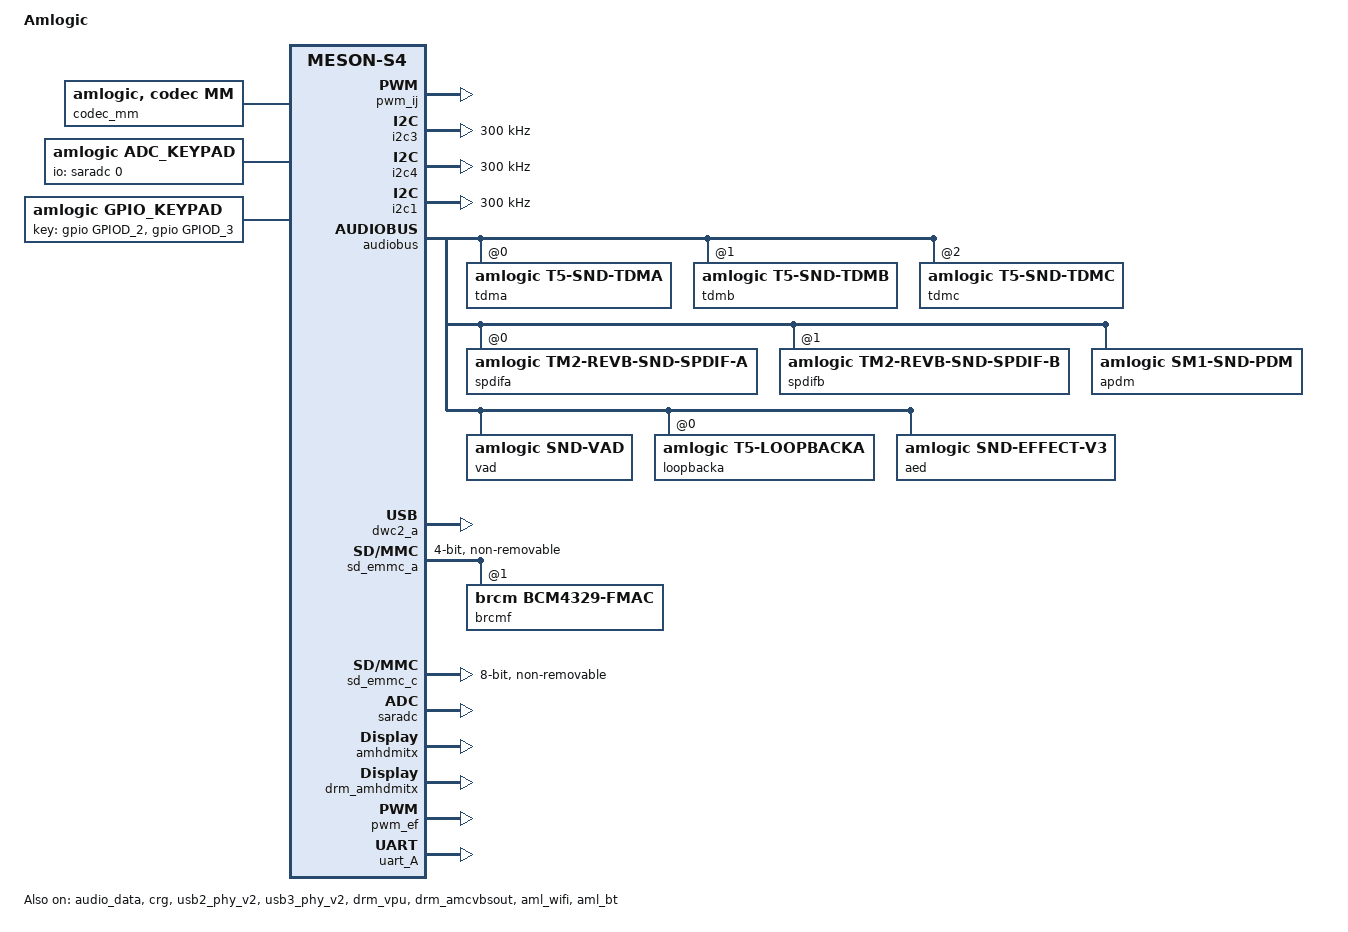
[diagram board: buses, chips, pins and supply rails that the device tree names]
// SPDX-License-Identifier: (GPL-2.0+ OR MIT)
/*
 * Copyright (c) 2019 Amlogic, Inc. All rights reserved.
 */

/dts-v1/;

#include "meson-s4.dtsi"
#include "mesons4_drm.dtsi"
#include "partition_mbox_ab.dtsi"
#include <dt-bindings/input/input.h>

/ {
	model = "Amlogic";
	amlogic-dt-id = "s4_s905y4_ap223";
	compatible = "amlogic, s4";
	interrupt-parent = <&gic>;
	#address-cells = <2>;
	#size-cells = <2>;

	aliases {
		serial0 = &uart_B;
		serial1 = &uart_A;
		serial2 = &uart_C;
		serial3 = &uart_D;
		serial4 = &uart_E;
		i2c0 = &i2c0;
		i2c1 = &i2c1;
		i2c2 = &i2c2;
		i2c3 = &i2c3;
		i2c4 = &i2c4;
		spi0 = &spifc;
		spi1 = &spicc0;
		tsensor0 = &p_tsensor;
	};

	memory@00000000 {
		device_type = "memory";
		linux,usable-memory = <0x0 0x0 0x0 0x80000000>;
	};

	reserved-memory {
		#address-cells = <2>;
		#size-cells = <2>;
		ranges;

		/* global autoconfigured region for contiguous allocations */
		ramoops@0x07400000 {
			compatible = "ramoops";
			reg = <0x0 0x07400000 0x0 0x00100000>;
			record-size = <0x20000>;
			console-size = <0x40000>;
			ftrace-size = <0x80000>;
			pmsg-size = <0x10000>;
			bconsole-size = <0x10000>;
		};

		secmon_reserved:linux,secmon {
			compatible = "shared-dma-pool";
			reusable;
			size = <0x0 0x3400000>;
			alignment = <0x0 0x400000>;
			alloc-ranges = <0x0 0x05000000 0x0 0x3400000>;
		};

		logo_reserved:linux,meson-fb {
			compatible = "shared-dma-pool";
			reusable;
			size = <0x0 0x800000>;
			alignment = <0x0 0x400000>;
			alloc-ranges = <0x0 0x7f800000 0x0 0x800000>;
		};

		ion_cma_reserved:linux,ion-dev {
			compatible = "shared-dma-pool";
			reusable;
			size = <0x0 0x5c00000>;
			alignment = <0x0 0x400000>;
		};
		ion_fb_reserved:linux,ion-fb {
			compatible = "shared-dma-pool";
			reusable;
			/* 1920x1080x4x4 round up 4M align */
			size = <0x0 0x2400000>;
			alignment = <0x0 0x400000>;
		};
		/*di CMA pool */
		di_cma_reserved:linux,di_cma {
			compatible = "shared-dma-pool";
			reusable;
			/* buffer_size = 3621952(yuv422 8bit)
			 *  | 4736064(yuv422 10bit)
			 *  | 4074560(yuv422 10bit full pack mode)
			 * 10x3621952=34.6M(0x23) support 8bit
			 * 10x4736064=45.2M(0x2e) support 12bit
			 * 10x4074560=40M(0x28) support 10bit
			 */
			//size = <0x0 0x0B000000>;
			//size = <0x0 0x0>;
			alignment = <0x0 0x400000>;
		};

		/*  POST PROCESS MANAGER */
		ppmgr_reserved:linux,ppmgr {
			compatible = "shared-dma-pool";
			size = <0x0>;
		};

		codec_mm_cma:linux,codec_mm_cma {
			compatible = "shared-dma-pool";
			reusable;
			/* ion_codec_mm max can alloc size 80M*/
			size = <0x0 0x1b000000>;
			alignment = <0x0 0x400000>;
			linux,contiguous-region;
		};

		/* codec shared reserved */
		codec_mm_reserved:linux,codec_mm_reserved {
			compatible = "amlogic, codec-mm-reserved";
			size = <0x0 0x0>;
			alignment = <0x0 0x100000>;
			//no-map;
		};

		/*  vdin0 CMA pool */
		//vdin0_cma_reserved:linux,vdin0_cma {
		//	compatible = "shared-dma-pool";
		//	reusable;
			/* up to 1920x1080 yuv422 8bit and 5 buffers
			 * 1920x1080x2x5 = 20 M
			 */
		//	size = <0x0 0x01400000>;
		//	alignment = <0x0 0x400000>;
		//};
		/*  vdin1 CMA pool */
		vdin1_cma_reserved:linux,vdin1_cma {
			compatible = "shared-dma-pool";
			reusable;
			/* up to 1920x1080 yuv422 8bit and 5 buffers
			 * 1920x1080x2x5 = 20 M
			 */
			size = <0x0 0x01400000>;
			alignment = <0x0 0x400000>;
		};

		/* demod_reserved:linux,demod {
		 *	compatible = "amlogic, demod-mem";
		 *	size = <0x0 0x6400000>; //8M //100m 0x6400000
		 *	alloc-ranges = <0x0 0x0 0x0 0x30000000>;
		 *	//multi-use;
		 *	//no-map;
		 * };
		 */

		demod_cma_reserved:linux,demod_cma {
			compatible = "shared-dma-pool";
			reusable;
			/* 20M */
			size = <0x0 0x0>;
			alignment = <0x0 0x400000>;
		};
	};
	codec_mm {
		compatible = "amlogic, codec, mm";
		memory-region = <&codec_mm_cma &codec_mm_reserved>;
		dev_name = "codec_mm";
		status = "okay";
	};
	amdolby_vision {
		compatible = "amlogic, dolby_vision_sc2";
		dev_name = "aml_amdolby_vision_driver";
		status = "disabled";
		tv_mode = <0>;/*1:enabel ;0:disable*/
	};
	cvbsout {
		compatible = "amlogic, cvbsout-s4";
		status = "okay";

		/* clk path */
		/* 0:vid_pll vid2_clk */
		/* 1:gp0_pll vid2_clk */
		/* 2:vid_pll vid1_clk */
		/* 3:gp0_pll vid1_clk */
		clk_path = <0>;

		/* performance: reg_address, reg_value */
		/* s4 */
		performance_pal = <0x1bf0  0x9 /* default Matrx625 CTCC value*/
			0x1b12  0x80c0
			0x1b05  0xf7
			0x1b56  0x333
			0x1c59  0xf25c
			0xffff  0x0>; /* ending flag */
		performance = <0x1bf0  0x9 /* ccitt033 SVA value */
			0x1b12  0x8040
			0x1b05  0xfd
			0x1b56  0x333
			0x1c59  0xf654
			0xffff  0x0>; /* ending flag */
		performance_ntsc = <0x1bf0  0x9
			0x1b12  0x8020
			0x1b03  0x0
			0x1b04  0x0
			0x1b05  0x0
			0x1b06  0x0
			0x1b56  0x333
			0x1c59  0xf850
			0xffff  0x0>; /* ending flag */
	};

	dvb-extern {
		compatible = "amlogic, dvb-extern";
		dev_name = "dvb-extern";
		status = "disabled";

		/* dvb hardware main power. */
		dvb_power_gpio = <&gpio GPIOZ_5 GPIO_ACTIVE_HIGH>;
		dvb_power_value = <1>;
		dvb_power_dir = <0>; /* 0: out, 1: in. */

		fe_num = <3>; /* interal 2 * dvb-c, extern 1 * dvb-s */
		fe0_demod = "internal";
		fe0_tuner0 = <0>; /* use tuner0 */

		fe1_demod = "internal";
		fe1_tuner0 = <1>; /* use tuner1 */

		fe2_demod = "cxd2856";
		fe2_i2c_adap_id = <&i2c4>;
		fe2_demod_i2c_addr = <0xD8>;
		fe2_reset_value = <0>;
		fe2_reset_gpio = <&gpio GPIOZ_4 GPIO_ACTIVE_HIGH>;
		fe2_reset_dir = <0>; /* 0: out, 1: in. */
		fe2_ant_poweron_value = <0>;
		fe2_ant_power_gpio = <&gpio GPIOH_9 GPIO_ACTIVE_HIGH>;
		fe2_ts = <0>;
		fe2_tuner1 = <3>; /* use tuner3, only S. */

		tuner_num = <4>; /* tuner number, multi tuner support */
		tuner0_name = "r836_tuner";
		tuner0_i2c_adap = <&i2c3>;
		tuner0_i2c_addr = <0x1a>; /* 7bit */
		tuner0_xtal = <0>; /* 0: 16MHz, 1: 24MHz */
		tuner0_xtal_mode = <0>;
					/* NO_SHARE_XTAL(0)
					 * SLAVE_XTAL_SHARE(3)
					 */
		tuner0_xtal_cap = <16>;
		tuner0_lt_out = <1>;

		tuner1_name = "r836_tuner";
		tuner1_i2c_adap = <&i2c3>;
		tuner1_i2c_addr = <0x3a>; /* 7bit */
		tuner1_xtal = <0>; /* 0: 16MHz, 1: 24MHz */
		tuner1_xtal_mode = <0>;
					/* NO_SHARE_XTAL(0)
					 * SLAVE_XTAL_SHARE(3)
					 */
		tuner1_xtal_cap = <16>;
		tuner1_lt_out = <1>;

		tuner2_name = "av2018_tuner";
		tuner2_i2c_adap = <&i2c3>;
		tuner2_i2c_addr = <0xC4>; /* 8bit */
		tuner2_lt_out = <1>;

		tuner3_name = "av2018_tuner";
		tuner3_lt_out = <1>;
	};

	dvb-demux {
		compatible = "amlogic sc2, dvb-demux";
		dev_name = "dvb-demux";
		status = "disabled";

		reg = <0x0 0xfe000000 0x0 0x480000>;

		dmxdev_num = <6>;

		tsn_from = "demod";

		/*single demod setting */
		ts0_sid = <0x10>;
		ts0 = "serial-4wire"; /* tsinA: serial-4wire, serial-3wire */
		ts0_control = <0x0>;
		ts0_invert = <0>;

		ts1_sid = <0x11>;
		ts1 = "parallel";
		ts1_control = <0x0>;
		ts1_invert = <0>;

		ts2_sid = <0x12>;
		ts2 = "parallel";
		ts2_control = <0x0>;
		ts2_invert = <0>;

		pinctrl-names = "s_ts0";
		pinctrl-0 = <&dvb_s_ts0_pins>;
	};

	ionvideo {
		compatible = "amlogic, ionvideo";
		dev_name = "ionvideo";
		status = "okay";
	};

	amlvideo2_0 {
		compatible = "amlogic, amlvideo2";
		dev_name = "amlvideo2";
		status = "okay";
		amlvideo2_id = <0>;
		cma_mode = <1>;
	};

	amlvideo2_1 {
		compatible = "amlogic, amlvideo2";
		dev_name = "amlvideo2";
		status = "okay";
		amlvideo2_id = <1>;
		cma_mode = <1>;
	};

	ppmgr {
		compatible = "amlogic, ppmgr";
		memory-region = <&ppmgr_reserved>;
		dev_name = "ppmgr";
		status = "okay";
	};

	amlvecm {
		compatible = "amlogic, vecm";
		dev_name = "aml_vecm";
		status = "okay";
		gamma_en = <0>;/*1:enabel ;0:disable*/
		wb_en = <0>;/*1:enabel ;0:disable*/
		cm_en = <0>;/*1:enabel ;0:disable*/
		/*0: 709/601  1: bt2020*/
		tx_op_color_primary = <0>;
	};

	multi-di {
		compatible = "amlogic, dim-s4";
		status = "okay";
		/* 0:use reserved; 1:use cma; 2:use cma as reserved */
		flag_cma = <4>;	//<1>;
		//memory-region = <&di_reserved>;
		//memory-region = <&di_cma_reserved>;
		interrupts = <0 203 1
				0 202 1>;
		interrupt-names = "pre_irq", "post_irq";
		clocks = <&clkc CLKID_VPU_CLKB>,
			<&clkc CLKID_VPU>;
		clock-names = "vpu_clkb",
			"vpu_mux";
		clock-range = <334 667>;
		/* buffer-size = <3621952>;(yuv422 8bit) */
		buffer-size = <4074560>;/*yuv422 fullpack*/
		/* reserve-iomap = "true"; */
		/* if enable nr10bit, set nr10bit-support to 1 */
		post-wr-support = <1>;
		nr10bit-support = <1>;
		nrds-enable = <1>;
		pps-enable = <1>;
	};

	aml_dtv_demod {
		compatible = "amlogic, ddemod-s4";
		dev_name = "aml_dtv_demod";
		status = "disabled";
		/* diseqc_name = "sgm_41286"; */
		pinctrl-names="if_agc_pins", "if_agc2_pins";
		pinctrl-0=<&dtvdemod_if_agc_pins>;
		pinctrl-1=<&dtvdemod_if_agc2_pins>;
		/* pinctrl-2=<&diseqc_out>; */
		/* lnb_en-gpios = <&gpio GPIOZ_2 GPIO_ACTIVE_HIGH>; */
		/* lnb_sel-gpios = <&gpio GPIOZ_3 GPIO_ACTIVE_HIGH>; */
		/* interrupts = <GIC_SPI 142 IRQ_TYPE_EDGE_RISING>; */
		/* interrupt-names = "demod_isr"; */

		power-domains = <&pwrdm PDID_S4_DEMOD>;
		/* clocks = <&clkc CLKID_DAC_CLK>; */
		/* clock-names = "vdac_clk_gate"; */

		reg = <0x0 0xfe350000 0x0 0x10000	/* dtv demod base */
			   0x0 0xfe000000 0x0 0x2000	/* div base */
			   0x0 0xff800000 0x0 0x1000	/* io_aobus_base */
			   0x0 0xffd01000 0x0 0x1000	/* reset */
			>;

		dtv_demod0_mem = <0>;	// need move to aml_dtv_demod ?
		spectrum = <1>;
		cma_flag = <1>;
		cma_mem_size = <0>;
		memory-region = <&demod_cma_reserved>;//<&demod_reserved>;
	};

	provisionkey {
		compatible = "amlogic, provisionkey";
		status = "disabled";
		key-permit-default = "write";
		//new key not need add dts if started with KEY_PROVISION_
		KEY_PROVISION_XXX { };
		//test_my_added_keyname { };
	};//End provisionkey

	unifykey{
		compatible = "amlogic,unifykey";
		status = "ok";
		unifykey-num = <19>;
		unifykey-index-0 = <&keysn_0>;
		unifykey-index-1 = <&keysn_1>;
		unifykey-index-2 = <&keysn_2>;
		unifykey-index-3 = <&keysn_3>;
		unifykey-index-4 = <&keysn_4>;
		unifykey-index-5 = <&keysn_5>;
		unifykey-index-6 = <&keysn_6>;
		unifykey-index-7 = <&keysn_7>;
		unifykey-index-8 = <&keysn_8>;
		unifykey-index-9 = <&keysn_9>;
		unifykey-index-10= <&keysn_10>;
		unifykey-index-11= <&keysn_11>;
		unifykey-index-12= <&keysn_12>;
		unifykey-index-13= <&keysn_13>;
		unifykey-index-14= <&keysn_14>;
		unifykey-index-15= <&keysn_15>;
		unifykey-index-16= <&keysn_16>;
		unifykey-index-17= <&keysn_17>;
		unifykey-index-18= <&keysn_18>;

		keysn_0: key_0{
			key-name = "usid";
			key-device = "normal";
			key-permit = "read","write","del";
		};
		keysn_1:key_1{
			key-name = "mac";
			key-device = "normal";
			key-permit = "read","write","del";
		};
		keysn_2:key_2{
			key-name = "hdcp";
			key-device = "secure";
			key-type = "sha1";
			key-permit = "read","write","del";
		};
		keysn_3:key_3{
			key-name = "secure_boot_set";
			key-device = "efuse";
			key-permit = "write";
		};
		keysn_4:key_4{
			key-name = "mac_bt";
			key-device = "normal";
			key-permit = "read","write","del";
			key-type  = "mac";
		};
		keysn_5:key_5{
			key-name = "mac_wifi";
			key-device = "normal";
			key-permit = "read","write","del";
			key-type = "mac";
		};
		keysn_6:key_6{
			key-name = "hdcp2_tx";
			key-device = "normal";
			key-permit = "read","write","del";
		};
		keysn_7:key_7{
			key-name = "hdcp2_rx";
			key-device = "normal";
			key-permit = "read","write","del";
		};
		keysn_8:key_8{
			key-name = "widevinekeybox";
			key-device = "secure";
			key-permit = "read","write","del";
		};
		keysn_9:key_9{
			key-name = "deviceid";
			key-device = "normal";
			key-permit = "read","write","del";
		};
		keysn_10:key_10{
			key-name = "hdcp22_fw_private";
			key-device = "secure";
			key-permit = "read","write","del";
		};
		keysn_11:key_11{
			key-name = "PlayReadykeybox25";
			key-device = "secure";
			key-permit = "read","write","del";
		};
		keysn_12:key_12{
			key-name = "prpubkeybox";// PlayReady
			key-device = "secure";
			key-permit = "read","write","del";
		};
		keysn_13:key_13{
			key-name = "prprivkeybox";// PlayReady
			key-device = "secure";
			key-permit = "read","write","del";
		};
		keysn_14:key_14{
			key-name = "attestationkeybox";// attestation key
			key-device = "secure";
			key-permit = "read","write","del";
		};
		keysn_15:key_15{
			key-name = "region_code";
			key-device = "normal";
			key-permit = "read","write","del";
		};
		keysn_16:key_16{
			key-name = "netflix_mgkid";
			key-device = "secure";
			key-permit = "read","write","del";
		};
		keysn_17:key_17{
			key-name = "attestationdevidbox";// attest dev id box
			key-device = "secure";
			key-permit = "read","write","del";
		};
		keysn_18:key_18{
			key-name = "oemkey";
			key-device = "normal";
			key-permit = "read","write","del";
		};
	};//End unifykey

	efusekey:efusekey{
		keynum = <4>;
		key0 = <&key_0>;
		key1 = <&key_1>;
		key2 = <&key_2>;
		key3 = <&key_3>;
		key_0:key_0{
			keyname = "mac";
			offset = <0>;
			size = <6>;
		};
		key_1:key_1{
			keyname = "mac_bt";
			offset = <6>;
			size = <6>;
		};
		key_2:key_2{
			keyname = "mac_wifi";
			offset = <12>;
			size = <6>;
		};
		key_3:key_3{
			keyname = "usid";
			offset = <18>;
			size = <16>;
		};
	};//End efusekey
	/* Audio Related start */
	auge_sound {
		compatible = "amlogic, auge-sound-card";
		aml-audio-card,name = "AML-AUGESOUND";

		/*avout mute gpio*/
		//avout_mute-gpios = <&gpio GPIOH_5 GPIO_ACTIVE_HIGH>;
		//spk_mute-gpios = <&gpio GPIOH_8 GPIO_ACTIVE_LOW>;

		aml-audio-card,dai-link@0 {
			format = "dsp_a";
			mclk-fs = <512>;
			//continuous-clock;
			//bitclock-inversion;
			//frame-inversion;
			/* master mode */
			bitclock-master = <&tdma>;
			frame-master = <&tdma>;
			/* slave mode */
			/*
			 * bitclock-master = <&tdmacodec>;
			 * frame-master = <&tdmacodec>;
			 */
			suffix-name = "alsaPORT-pcm";
			tdmacpu: cpu {
				sound-dai = <&tdma>;
				dai-tdm-slot-tx-mask =
							<1>;
				dai-tdm-slot-rx-mask =
							<1>;
				dai-tdm-slot-num = <2>;
				dai-tdm-slot-width = <16>;
				system-clock-frequency = <256000>;
			};
			tdmacodec: codec {
				sound-dai = <&dummy_codec>;
			};
		};

		aml-audio-card,dai-link@1 {
			format = "i2s";// "dsp_a";
			mclk-fs = <256>;
			//continuous-clock;
			//bitclock-inversion;
			//frame-inversion;
			/* master mode */
			bitclock-master = <&tdmb>;
			frame-master = <&tdmb>;
			/* slave mode */
			//bitclock-master = <&tdmbcodec>;
			//frame-master = <&tdmbcodec>;
			/* suffix-name, sync with android audio hal
			 * what's the dai link used for
			 */
			suffix-name = "alsaPORT-i2s2hdmi";
			cpu {
				sound-dai = <&tdmb>;
				dai-tdm-slot-tx-mask = <1 1>;
				dai-tdm-slot-rx-mask = <1 1>;
				dai-tdm-slot-num = <2>;
				/*
				 * dai-tdm-slot-tx-mask =
				 *	<1 1 1 1 1 1 1 1>;
				 * dai-tdm-slot-rx-mask =
				 *	<1 1 1 1 1 1 1 1>;
				 * dai-tdm-slot-num = <8>;
				 */
				dai-tdm-slot-width = <32>;
				system-clock-frequency = <12288000>;
			};
			tdmbcodec: codec {
				sound-dai = <&dummy_codec>;
			};
		};

		aml-audio-card,dai-link@2 {
			format = "i2s";
			mclk-fs = <256>;
			//continuous-clock;
			//bitclock-inversion;
			//frame-inversion;
			/* master mode */
			bitclock-master = <&tdmc>;
			frame-master = <&tdmc>;
			/* slave mode */
			//bitclock-master = <&tdmccodec>;
			//frame-master = <&tdmccodec>;
			/* suffix-name, sync with android audio hal used for */
			suffix-name = "alsaPORT-i2s";
			cpu {
				sound-dai = <&tdmc>;
				dai-tdm-slot-tx-mask = <1 1>;
				dai-tdm-slot-rx-mask = <1 1>;
				dai-tdm-slot-num = <2>;
				dai-tdm-slot-width = <32>;
				system-clock-frequency = <12288000>;
			};
			tdmccodec: codec {
				sound-dai = <&dummy_codec /*&ad82584f_62*/>;
			};
		};

		aml-audio-card,dai-link@3 {
			mclk-fs = <64>;
			/* suffix-name, sync with android audio hal
			 * what's the dai link used for
			 */
			suffix-name = "alsaPORT-pdm-builtinmic";
			cpu {
				sound-dai = <&apdm>;
			};
			codec {
				sound-dai = <&dummy_codec>;
			};
		};

		aml-audio-card,dai-link@4 {
			mclk-fs = <128>;
			/* suffix-name, sync with android audio hal used for */
			suffix-name = "alsaPORT-spdif";
			cpu {
				sound-dai = <&spdifa>;
				system-clock-frequency = <6144000>;
			};
			codec {
				sound-dai = <&dummy_codec>;
			};
		};
		/* spdif_b to hdmi, only playback */
		aml-audio-card,dai-link@5 {
			mclk-fs = <128>;
			continuous-clock;
			/* suffix-name, sync with android audio hal
			 * what's the dai link used for
			 */
			suffix-name = "alsaPORT-spdifb";
			cpu {
				sound-dai = <&spdifb>;
				system-clock-frequency = <6144000>;
			};
			codec {
				sound-dai = <&dummy_codec>;
			};
		};

		aml-audio-card,dai-link@6 {
			mclk-fs = <256>;
			continuous-clock;
			suffix-name = "alsaPORT-loopback";
			cpu {
				sound-dai = <&loopbacka>;
				system-clock-frequency = <12288000>;
			};
			codec {
				sound-dai = <&dummy_codec>;
			};
		};
	};

	picdec {
		compatible = "amlogic, picdec";
		status = "okay";
	};

	audiolocker: locker {
		compatible = "amlogic, audiolocker";
		clock-names = "lock_out", "lock_in", "out_src",
					"in_src", "out_calc", "in_ref";
		interrupts = <GIC_SPI 1 IRQ_TYPE_EDGE_RISING>;
		interrupt-names = "irq";
		frequency = <49000000>; /* pll */
		dividor = <49>; /* locker's parent */
		status = "disabled";
	};/* Audio Related end */

	adc_keypad {
		compatible = "amlogic, adc_keypad";
		status = "okay";
		key_name = "standby", "vol+", "vol-";
		key_num = <3>;
		io-channels = <&saradc 0>;
		io-channel-names = "key-chan-0";
		key_chan = <0 0 0>;
		key_code = <116 115 114>;
		key_val = <20 910 630>; //val=voltage/1800mV*1023
		key_tolerance = <40 40 40>;
	};

	gpio_keypad{
		compatible = "amlogic, gpio_keypad";
		status = "okay";
		scan_period = <20>;
		key_num = <2>;
		key_name = "bluetooth", "mute";
		key_code = <600 SW_MUTE_DEVICE>;
		key_type = <EV_KEY EV_SW>;
		key-gpios = <&gpio  GPIOD_2  GPIO_ACTIVE_HIGH
			     &gpio  GPIOD_3  GPIO_ACTIVE_HIGH>;
		detect_mode = <0>;/*0:polling mode, 1:irq mode*/
	};
};

&pwm_ij {
	status = "okay";
};

&i2c3 {
	status = "okay";
	pinctrl-names="default";
	pinctrl-0=<&i2c3_pins2>;
	clock-frequency = <300000>;
};

&i2c4 {
	status = "okay";
	pinctrl-names="default";
	pinctrl-0=<&i2c4_pins3>;
	clock-frequency = <300000>;
};

&i2c1 {
	status = "okay";
	pinctrl-names="default";
	pinctrl-0=<&i2c1_pins2>;
	clock-frequency = <300000>; /* default 100k */

	tlc59116: tlc59116@60 {
		compatible = "amlogic,tlc59116_led";
		reg = <0x60>;
		status = "disabled";

		led0 {
			default_colors = <0 0 0>;
			r_io_number = <0>;
			g_io_number = <10>;
			b_io_number = <5>;
		};

		led1 {
			default_colors = <0 0 0>;
			r_io_number = <1>;
			g_io_number = <11>;
			b_io_number = <6>;
		};

		led2 {
			default_colors = <0 0 0>;
			r_io_number = <2>;
			g_io_number = <12>;
			b_io_number = <7>;
		};

		led3 {
			default_colors = <0 0 0>;
			r_io_number = <3>;
			g_io_number = <13>;
			b_io_number = <8>;
		};
	};
};

&vddcpu0 {
	status = "okay";
};

&CPU0 {
	multi_tables_available;
	operating-points-v2 = <&s905y4_opp_table0>,
		<&s905y4_opp_table1>,
		<&s905y4_opp_table2>,
		<&s905y4_opp_table3>;
};

&CPU1 {
	multi_tables_available;
	operating-points-v2 = <&s905y4_opp_table0>,
		<&s905y4_opp_table1>,
		<&s905y4_opp_table2>,
		<&s905y4_opp_table3>;
};

&CPU2 {
	multi_tables_available;
	operating-points-v2 = <&s905y4_opp_table0>,
		<&s905y4_opp_table1>,
		<&s905y4_opp_table2>,
		<&s905y4_opp_table3>;
};

&CPU3 {
	multi_tables_available;
	operating-points-v2 = <&s905y4_opp_table0>,
		<&s905y4_opp_table1>,
		<&s905y4_opp_table2>,
		<&s905y4_opp_table3>;
};

&audiobus {
	tdma: tdm@0 {
		compatible = "amlogic, t5-snd-tdma";
		#sound-dai-cells = <0>;
		dai-tdm-lane-slot-mask-in = <1>;
		dai-tdm-lane-slot-mask-out = <1 0>;
		dai-tdm-clk-sel = <0>;
		clocks = <&clkaudio CLKID_AUDIO_MCLK_A
				&clkc CLKID_MPLL0>;
		clock-names = "mclk", "clk_srcpll";
		pinctrl-names = "tdm_pins";
		pinctrl-0 = <&tdm_a
			&tdm_d0_pins
			&tdm_d1_pins
			&tdma_clk_pins>;

		status = "okay";
	};

	tdmb: tdm@1 {
		compatible = "amlogic, t5-snd-tdmb";
		#sound-dai-cells = <0>;
		dai-tdm-lane-slot-mask-in = <0 1 0 0>;
		dai-tdm-lane-slot-mask-out = <1 1 1 1>;
		dai-tdm-clk-sel = <1>;
		clocks = <&clkaudio CLKID_AUDIO_MCLK_B
				&clkc CLKID_MPLL1>;
		clock-names = "mclk", "clk_srcpll";
		pinctrl-names = "tdm_pins";
		pinctrl-0 = </*&tdmb_mclk &tdmout_b &tdmin_b*/>;

		i2s2hdmi = <1>;
		status = "okay";
	};

	tdmc: tdm@2 {
		compatible = "amlogic, t5-snd-tdmc";
		#sound-dai-cells = <0>;
		dai-tdm-lane-slot-mask-in = <1>;
		dai-tdm-lane-slot-mask-out = <1>;
		dai-tdm-clk-sel = <2>;
		clocks = <&clkaudio CLKID_AUDIO_MCLK_C
				&clkaudio CLKID_AUDIO_MCLK_PAD0
				&clkc CLKID_MPLL2>;
		clock-names = "mclk", "mclk_pad", "clk_srcpll";
		/*
		 * 0: tdmout_a;
		 * 1: tdmout_b;
		 * 2: tdmout_c;
		 * 3: spdifout;
		 * 4: spdifout_b;
		 */
		samesource_sel = <3>;

		/*enable default mclk(12.288M), before extern codec start*/
		start_clk_enable = <1>;

		/*tdm clk tuning enable*/
		clk_tuning_enable = <1>;

		status = "okay";
	};

	spdifa: spdif@0 {
		compatible = "amlogic, tm2-revb-snd-spdif-a";
		#sound-dai-cells = <0>;
		clocks = <&clkc CLKID_MPLL0
				&clkc CLKID_FCLK_DIV4
				&clkaudio CLKID_AUDIO_GATE_SPDIFIN
				&clkaudio CLKID_AUDIO_GATE_SPDIFOUT_A
				&clkaudio CLKID_AUDIO_SPDIFIN
				&clkaudio CLKID_AUDIO_SPDIFOUT_A>;
		clock-names = "sysclk", "fixed_clk", "gate_spdifin",
				"gate_spdifout", "clk_spdifin", "clk_spdifout";
		interrupts =
				<GIC_SPI 35 IRQ_TYPE_EDGE_RISING>;

		interrupt-names = "irq_spdifin";
		pinctrl-names = "spdif_pins", "spdif_pins_mute";
		pinctrl-0 = <&spdifout>;
		pinctrl-1 = <&spdifout_a_mute>;

		/*spdif clk tuning enable*/
		clk_tuning_enable = <1>;

		status = "okay";
	};
	spdifb: spdif@1 {
		compatible = "amlogic, tm2-revb-snd-spdif-b";
		#sound-dai-cells = <0>;
		clocks = <&clkc CLKID_MPLL1 /*CLKID_HIFI_PLL*/
				&clkaudio CLKID_AUDIO_GATE_SPDIFOUT_B
				&clkaudio CLKID_AUDIO_SPDIFOUT_B>;
		clock-names = "sysclk",
				"gate_spdifout", "clk_spdifout";

		status = "okay";
	};
	apdm: pdm {
		compatible = "amlogic, sm1-snd-pdm";
		#sound-dai-cells = <0>;

		clocks = <&clkaudio CLKID_AUDIO_GATE_PDM
			&clkc CLKID_FCLK_DIV3
			&clkc CLKID_MPLL3
			&clkaudio CLKID_AUDIO_PDMIN0
			&clkaudio CLKID_AUDIO_PDMIN1>;
		clock-names = "gate",
			"sysclk_srcpll",
			"dclk_srcpll",
			"pdm_dclk",
			"pdm_sysclk";

		pinctrl-names = "pdm_pins";
		pinctrl-0 = <&pdmin>;

		/* mode 0~4, defalut:1 */
		filter_mode = <1>;

		status = "okay";
	};

	asrca: resample@0 {
		compatible = "amlogic, t5-resample-a";
		clocks = <&clkc CLKID_MPLL3
				&clkaudio CLKID_AUDIO_MCLK_F
				&clkaudio CLKID_AUDIO_RESAMPLE_A>;
		clock-names = "resample_pll", "resample_src", "resample_clk";
		/*same with toddr_src
		 *	TDMIN_A, 0
		 *	TDMIN_B, 1
		 *	TDMIN_C, 2
		 *	SPDIFIN, 3
		 *	PDMIN,  4
		 *	NONE,
		 *	TDMIN_LB, 6
		 *	LOOPBACK, 7
		 */
		resample_module = <4>;
		status = "disabled";
	};

	asrcb:resample@1 {
		compatible = "amlogic, t5-resample-b";
		clocks = <&clkc CLKID_MPLL3
			&clkaudio CLKID_AUDIO_MCLK_F
			&clkaudio CLKID_AUDIO_RESAMPLE_B>;
		clock-names = "resample_pll", "resample_src", "resample_clk";

		/*this resample is only used for loopback_A.*/
		capture_sample_rate = <16000>;

		status = "disabled";
	};

	vad:vad {
		compatible = "amlogic, snd-vad";
		#sound-dai-cells = <0>;

		clocks = <&clkaudio CLKID_AUDIO_GATE_TOVAD
			&clkc CLKID_FCLK_DIV5
			&clkaudio CLKID_AUDIO_VAD>;
		clock-names = "gate", "pll", "clk";

		interrupts = <GIC_SPI 39 IRQ_TYPE_EDGE_RISING
				GIC_SPI 44 IRQ_TYPE_EDGE_RISING>;
		interrupt-names = "irq_wakeup", "irq_frame_sync";

		/*
		 * Data src sel:
		 * 0: tdmin_a;
		 * 1: tdmin_b;
		 * 2: tdmin_c;
		 * 3: spdifin;
		 * 4: pdmin;
		 * 5: loopback_b;
		 * 6: tdmin_lb;
		 * 7: loopback_a;
		 */
		src = <4>;

		/*
		 * deal with hot word in user space or kernel space
		 * 0: in user space
		 * 1: in kernel space
		 */
		level = <1>;

		status = "okay";
	};

	loopbacka:loopback@0 {
		compatible = "amlogic, t5-loopbacka";
		#sound-dai-cells = <0>;

		clocks = <&clkaudio CLKID_AUDIO_GATE_PDM
			&clkc CLKID_FCLK_DIV3
			&clkc CLKID_MPLL3
			&clkaudio CLKID_AUDIO_PDMIN0
			&clkaudio CLKID_AUDIO_PDMIN1
			&clkc CLKID_MPLL0
			&clkaudio CLKID_AUDIO_MCLK_A>;
		clock-names = "pdm_gate",
			"pdm_sysclk_srcpll",
			"pdm_dclk_srcpll",
			"pdm_dclk",
			"pdm_sysclk",
			"tdminlb_mpll",
			"tdminlb_mclk";

		/* datain src
		 * 0: tdmin_a;
		 * 1: tdmin_b;
		 * 2: tdmin_c;
		 * 3: spdifin;
		 * 4: pdmin;
		 */
		datain_src = <4>;
		datain_chnum = <0>;
		datain_chmask = <0x0>;
		/* config which data pin for loopback */
		datain-lane-mask-in = <0 0 0 0>;

		/* calc mclk for datalb */
		mclk-fs = <256>;

		/* tdmin_lb src
		 * 0: tdmoutA
		 * 1: tdmoutB
		 * 2: tdmoutC
		 * 3: PAD_TDMINA_DIN*, refer to core pinmux
		 * 4: PAD_TDMINB_DIN*, refer to core pinmux
		 * 5: PAD_TDMINC_DIN*, refer to core pinmux
		 * 6: PAD_TDMINA_D*, oe, refer to core pinmux
		 * 7: PAD_TDMINB_D*, oe, refer to core pinmux
		 */
		/* if tdmin_lb >= 3, use external loopback */
		datalb_src = <2>;
		datalb_chnum = <2>;
		datalb_chmask = <0x3>;
		/* config which data pin as loopback */
		datalb-lane-mask-in = <1 0 0 0>;

		status = "okay";
	};

	loopbackb:loopback@1 {
		compatible = "amlogic, t5-loopbackb";
		#sound-dai-cells = <0>;

		clocks = <&clkaudio CLKID_AUDIO_GATE_PDM
			&clkc CLKID_FCLK_DIV3
			&clkc CLKID_MPLL3
			&clkaudio CLKID_AUDIO_PDMIN0
			&clkaudio CLKID_AUDIO_PDMIN1
			&clkc CLKID_MPLL0
			&clkaudio CLKID_AUDIO_MCLK_A>;
		clock-names = "pdm_gate",
			"pdm_sysclk_srcpll",
			"pdm_dclk_srcpll",
			"pdm_dclk",
			"pdm_sysclk",
			"tdminlb_mpll",
			"tdminlb_mclk";

		/* calc mclk for datain_lb */
		mclk-fs = <256>;

		/* datain src
		 * 0: tdmin_a;
		 * 1: tdmin_b;
		 * 2: tdmin_c;
		 * 3: spdifin;
		 * 4: pdmin;
		 */
		datain_src = <4>;
		datain_chnum = <4>;
		datain_chmask = <0xf>;
		/* config which data pin for loopback */
		datain-lane-mask-in = <1 0 1 0>;

		/* tdmin_lb src
		 * 0: tdmoutA
		 * 1: tdmoutB
		 * 2: tdmoutC
		 * 3: PAD_TDMINA_DIN*, refer to core pinmux
		 * 4: PAD_TDMINB_DIN*, refer to core pinmux
		 * 5: PAD_TDMINC_DIN*, refer to core pinmux
		 * 6: PAD_TDMINA_D*, oe, refer to core pinmux
		 * 7: PAD_TDMINB_D*, oe, refer to core pinmux
		 */
		/* if tdmin_lb >= 3, use external loopback */
		datalb_src = <1>;
		datalb_chnum = <2>;
		datalb_chmask = <0x3>;
		/* config which data pin as loopback */
		datalb-lane-mask-in = <1 0 0 0>;

		status = "disabled";
	};
	aed:effect {
		compatible = "amlogic, snd-effect-v3";
		#sound-dai-cells = <0>;
		clocks = <&clkaudio CLKID_AUDIO_GATE_EQDRC
			&clkc CLKID_FCLK_DIV5
			&clkaudio CLKID_AUDIO_EQDRC>;
		clock-names = "gate", "srcpll", "eqdrc";
		/*
		 * 0:tdmout_a
		 * 1:tdmout_b
		 * 2:tdmout_c
		 * 3:spdifout
		 * 4:spdifout_b
		 */
		eqdrc_module = <2>;
		/* max 0xf, each bit for one lane, usually one lane */
		lane_mask = <0x1>;
		/* max 0xff, each bit for one channel */
		channel_mask = <0x3>;
		status = "okay";
	};
}; /* end of audiobus */

&pinctrl_audio {
	tdm_d0_pins: tdm_d0_pin {
		mux {
			groups = "tdm_d0";
			function = "tdmouta_lane0";
		};
	};

	tdm_d1_pins: tdm_d1_pin {
		mux {
			groups = "tdm_d1";
			function = "tdmina_lane0";
		};
	};

	tdma_clk_pins: tdm_clk_pin {
		mux {
			groups = "tdm_sclk0", "tdm_lrclk0";
			function = "tdm_clk_outa";
		};
	};
};

&periphs_pinctrl {
	tdm_a: tdm_a {
		mux { /* GPIOX_11, GPIOX_10, GPIOX_9, GPIOX_8 */
			groups = "tdm_sclk0",
				"tdm_fs0",
				"tdm_d0",
				"tdm_d1";
			function = "tdm";
		};
	};

	pdmin: pdmin {
		mux { /* GPIOD_8, GPIOD_9 */
			groups = "pdm_din0_d";
			function = "pdm";
		};
		mux1 {
			groups = "pdm_dclk_d";
			function = "pdm";
			drive-strength-microamp = <500>;
		};
	};

	spdifout: spdifout {
		mux { /* GPIOH_4 */
			groups = "spdif_out_h";
			function = "spdif_out";
		};
	};

	spdifout_a_mute: spdifout_a_mute {
		mux { /* GPIOH_4 */
			groups = "GPIOH_4";
			function = "gpio_periphs";
			output-low;
		};
	};

	dvb_s_ts0_pins: dvb_s_ts0_pins {
		tsin_a {
			groups = "tsin_a_sop",
				"tsin_a_valid",
				"tsin_a_clk",
				"tsin_a_din0";
			function = "tsin_a";
		};
	};
}; /* end of periphs_pinctrl */

&audio_data {
	status = "okay";
};

&dwc2_a {
	status = "okay";
	/** 0: normal, 1: otg+dwc3 host only, 2: otg+dwc3 device only*/
	controller-type = <1>;
};

&crg {
	status = "okay";
};

&usb2_phy_v2 {
	status = "okay";
	portnum = <2>;
};

&usb3_phy_v2 {
	status = "okay";
	portnum = <0>;
	otg = <0>;
	/*gpio-vbus-power = "GPIOH_6";*/
	/*gpios = <&gpio GPIOH_6 GPIO_ACTIVE_HIGH>;*/
};

&pcie {
	reset-gpio = <&gpio GPIOX_7 GPIO_ACTIVE_HIGH>;
	status = "disable";
};

/* SDIO */
&sd_emmc_a {
	status = "okay";
	pinctrl-0 = <&sdio_pins>;
	pinctrl-1 = <&sdio_clk_gate_pins>;
	pinctrl-names = "default", "clk-gate";
	#address-cells = <1>;
	#size-cells = <0>;

	bus-width = <4>;
	cap-sd-highspeed;
	sd-uhs-sdr50;
	sd-uhs-sdr104;
	max-frequency = <200000000>;

	non-removable;
	disable-wp;

	//vmmc-supply = <&vddao_3v3>;
	//vqmmc-supply = <&vddio_ao1v8>;

	brcmf: wifi@1 {
		reg = <1>;
		compatible = "brcm,bcm4329-fmac";
	};
};

/* SD card */
&sd_emmc_b {
	status = "disabled";
	pinctrl-0 = <&sdcard_pins>;
	pinctrl-1 = <&sdcard_clk_gate_pins>;
	pinctrl-2 = <&sd_1bit_pins>;
	pinctrl-3 = <&sd_to_ao_uart_clr_pins
		&sdcard_pins &ao_to_sd_uart_pins>;
	pinctrl-4 = <&sd_to_ao_uart_clr_pins
		&sd_1bit_pins &ao_to_sd_uart_pins>;
	pinctrl-5 = <&sdcard_pins &ao_uart_pins>;
	pinctrl-6 = <&sd_to_ao_uart_clr_pins
		&ao_to_sd_uart_pins>;
	pinctrl-7 = <&sdcard_pins &ao_uart_pins>;
	pinctrl-8 = <&sd_to_ao_uart_clr_pins
		&ao_to_sd_uart_pins>;
	pinctrl-names = "sd_default",
			"clk-gate",
			"sd_1bit_pins",
			"sd_clk_cmd_uart_pins",
			"sd_1bit_uart_pins",
			"sd_to_ao_uart_pins",
			"ao_to_sd_uart_pins",
			"sd_to_ao_jtag_pins",
			"ao_to_sd_jtag_pins";
	bus-width = <4>;
	cap-sd-highspeed;
//	sd-uhs-sdr12;
//	sd-uhs-sdr25;
//	sd-uhs-sdr50;
//	sd-uhs-sdr104;
	max-frequency = <200000000>;
	disable-wp;

	cd-gpios = <&gpio GPIOC_6 GPIO_ACTIVE_HIGH>;
	dat1-gpios = <&gpio GPIOC_1 GPIO_ACTIVE_HIGH>;
	//vmmc-supply = <&vddao_3v3>;
	//vqmmc-supply = <&emmc_1v8>;
};

&sd_emmc_c {
	status = "okay";
	pinctrl-0 = <&emmc_pins>, <&emmc_ds_pins>;
	pinctrl-1 = <&emmc_clk_gate_pins>;
	pinctrl-names = "default", "clk-gate";

	bus-width = <8>;
	cap-mmc-highspeed;
	mmc-ddr-1_8v;
	mmc-hs200-1_8v;
//	mmc-hs400-1_8v;
	max-frequency = <200000000>;
	non-removable;
	disable-wp;

//	mmc-pwrseq = <&emmc_pwrseq>;
//	vmmc-supply = <&vddao_3v3>;
//	vqmmc-supply = <&vddao_1v8>;
};

&mtd_nand {
	status = "disabled";
	#address-cells = <1>;
	#size-cells = <0>;

	pinctrl-names = "nand_norb_mod","nand_cs_only";
	pinctrl-0 = <&all_nand_pins>;
	pinctrl-1 = <&nand_cs_pins>;
	bl_mode = <1>;
	fip_copies = <4>;
	fip_size = <0x200000>;
	ship_bad_block = <1>;
	disa_irq_flag = <1>;
	nand@bootloader {
		reg = <0>;
		#address-cells = <1>;
		#size-cells = <1>;
		nand-ecc-maximize;
		partition@0 {
			label = "bootloader";
			reg = <0x0 0x00000000>;
		};
	};
	nand@normal {
		reg = <0>;
		#address-cells = <1>;
		#size-cells = <1>;
		nand-ecc-maximize;

		partition@0 {
			label = "bl2e";
			reg = <0x0 0x00000000>;
		};
		partition@1 {
			label = "bl2x";
			reg = <0x0 0x00000000>;
		};
		partition@2 {
			label = "ddrfip";
			reg = <0x0 0x00000000>;
		};
		partition@3 {
			label = "tpl";
			reg = <0x0 0x00000000>;
		};
		partition@4 {
			label = "logo";
			reg = <0x0 0x00200000>;
		};
		partition@5 {
			label = "recovery";
			reg = <0x0 0x1000000>;
		};
		partition@6 {
			label = "boot";
			reg = <0x0 0x0F00000>;
		};
		partition@7 {
			label = "system";
			reg = <0x0 0x11800000>;
		};
		partition@8 {
			label = "data";
			reg = <0x0 0xffffffff>;
		};
	};
};

&saradc {
	status = "okay";
};

&ethmac {
	status = "disabled";
	phy-handle = <&internal_ephy>;
	phy-mode = "rmii";
};

&ir {
	status = "disabled";
	pinctrl-0 = <&remote_pins>;
	pinctrl-names = "default";
};

&spicc0 {
	status = "disabled";
	pinctrl-names = "default";
	pinctrl-0 = <&spicc0_pins_x>;
	cs-gpios = <&gpio GPIOX_10 0>;
};

&spifc {
	status = "disabled";
	spi-nor@0 {
		status = "disabled";
	};
};

&fb {
	status = "disabled";
	display_size_default = <1920 1080 1920 2160 32>;
	mem_size = <0x00800000 0x1980000 0x100000>;
	logo_addr = "0x7f800000";
	mem_alloc = <0>;
	pxp_mode = <0>; /** 0:normal mode 1:pxp mode */
};

&drm_vpu {
	status = "okay";
	logo_addr = "0x7f800000";

};

&amhdmitx {
	status = "okay";
};

&drm_amhdmitx {
	status = "okay";
	hdcp = "disabled";
};

&drm_amcvbsout {
	status = "okay";
};

&drm_lcd {
	status = "disabled";
};

&vpu {
	clk_level = <7>;
};

/*if you want to use vdin just modify status to "ok"*/
&vdin0 {
	/*compatible = "amlogic, vdin-sc2";*/
	/*memory-region = <&vdin0_cma_reserved>;*/
	/*status = "disabled";*/
	/* up to 1920x1080 yuv422 8bit and 5 buffers
	 * 1920x1080x2x5 = 20 M
	 */
	cma_size = <20>;
	/*vdin write mem color depth support:
	 *bit0:support 8bit
	 *bit1:support 9bit
	 *bit2:support 10bit
	 *bit3:support 12bit
	 *bit4:support yuv422 10bit full pack mode (from txl new add)
	 */
	tv_bit_mode = <0x1>;
};

&vdin1 {
	/*compatible = "amlogic, vdin-sc2";*/
	memory-region = <&vdin1_cma_reserved>;
	/*status = "disabled";*/
	/*vdin write mem color depth support:
	 *bit0:support 8bit
	 *bit1:support 9bit
	 *bit2:support 10bit
	 *bit3:support 12bit
	 */
	tv_bit_mode = <1>;
};

&aml_wifi{
	status = "okay";
	interrupt-gpios = <&gpio  GPIOX_7  GPIO_ACTIVE_HIGH>;
	power_on-gpios = <&gpio   GPIOX_6  GPIO_ACTIVE_HIGH>;
};

&aml_bt {
	status = "okay";
	reset-gpios = <&gpio    GPIOX_17 GPIO_ACTIVE_HIGH>;
	btwakeup-gpios = <&gpio    GPIOX_18 GPIO_ACTIVE_HIGH>;
	hostwake-gpios = <&gpio GPIOX_19 GPIO_ACTIVE_HIGH>;
};

&pwm_ef {
	pinctrl-0 = <&pwm_e_pins1>;
	pinctrl-names = "default";
	status = "okay";
};

&uart_A {
	status = "okay";
	uart-has-rtscts;
};

&gpu {
	tbl =  <&dvfs285_cfg
		&dvfs400_cfg
		&dvfs500_cfg
		&dvfs666_cfg
		&dvfs850_cfg
		&dvfs850_cfg>;
};

/*&vdac {
 *	status = "disabled";
 *};
 */

&amlogic_codec {
	status = "disabled";
};
